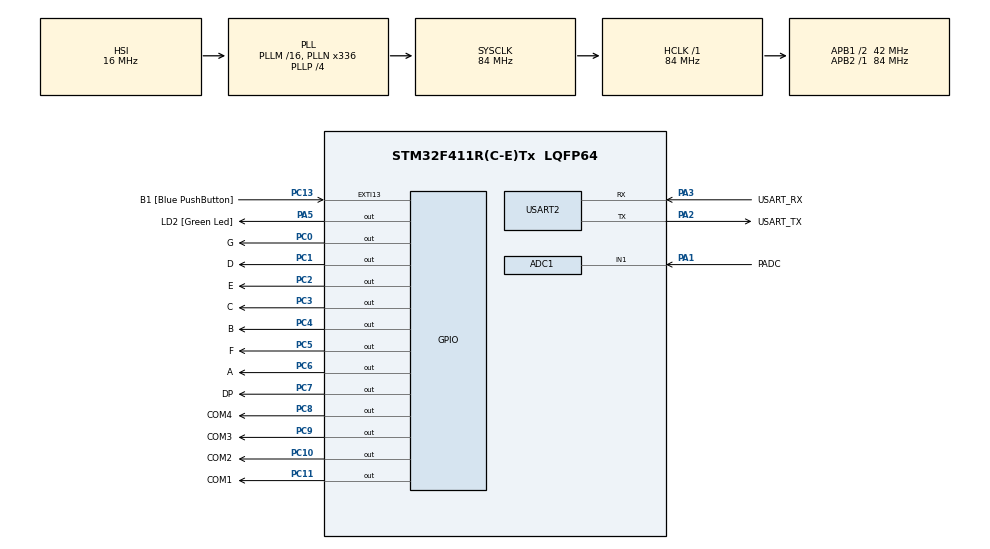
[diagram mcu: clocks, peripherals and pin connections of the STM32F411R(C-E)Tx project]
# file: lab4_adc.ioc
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ADC1.Channel-0\#ChannelRegularConversion=ADC_CHANNEL_1
ADC1.ContinuousConvMode=DISABLE
ADC1.NbrOfConversion=1
ADC1.NbrOfConversionFlag=1
ADC1.Rank-0\#ChannelRegularConversion=1
ADC1.SamplingTime-0\#ChannelRegularConversion=ADC_SAMPLETIME_3CYCLES
ADC1.master=1
Mcu.Family=STM32F4
Mcu.Name=STM32F411R(C-E)Tx
Mcu.Package=LQFP64
NVIC.ADC_IRQn=true\:0\:0\:false\:false\:true\:true\:true\:true
NVIC.PriorityGroup=NVIC_PRIORITYGROUP_0
NVIC.TIM1_TRG_COM_TIM11_IRQn=true\:0\:0\:false\:false\:true\:true\:true\:true
NVIC.TIM1_UP_TIM10_IRQn=true\:0\:0\:false\:false\:true\:true\:true\:true
PA1.GPIO_Label=PADC
PA1.Signal=ADCx_IN1
PA13.GPIO_Label=TMS
PA13.Mode=Serial_Wire
PA13.Signal=SYS_JTMS-SWDIO
PA14.GPIO_Label=TCK
PA14.Mode=Serial_Wire
PA14.Signal=SYS_JTCK-SWCLK
PA2.GPIO_Label=USART_TX
PA2.Mode=Asynchronous
PA2.Signal=USART2_TX
PA3.GPIO_Label=USART_RX
PA3.Mode=Asynchronous
PA3.Signal=USART2_RX
PA5.GPIO_Label=LD2 [Green Led]
PA5.Signal=GPIO_Output
PB3.GPIO_Label=SWO
PB3.Signal=SYS_JTDO-SWO
PC0.GPIO_Label=G
PC0.Signal=GPIO_Output
PC1.GPIO_Label=D
PC1.Signal=GPIO_Output
PC10.GPIO_Label=COM2
PC10.Signal=GPIO_Output
PC11.GPIO_Label=COM1
PC11.Signal=GPIO_Output
PC13-ANTI_TAMP.GPIO_Label=B1 [Blue PushButton]
PC13-ANTI_TAMP.GPIO_ModeDefaultEXTI=GPIO_MODE_IT_FALLING
PC13-ANTI_TAMP.Signal=GPXTI13
PC14-OSC32_IN.Mode=LSE-External-Oscillator
PC14-OSC32_IN.Signal=RCC_OSC32_IN
PC15-OSC32_OUT.Mode=LSE-External-Oscillator
PC15-OSC32_OUT.Signal=RCC_OSC32_OUT
PC2.GPIO_Label=E
PC2.Signal=GPIO_Output
PC3.GPIO_Label=C
PC3.Signal=GPIO_Output
PC4.GPIO_Label=B
PC4.Signal=GPIO_Output
PC5.GPIO_Label=F
PC5.Signal=GPIO_Output
PC6.GPIO_Label=A
PC6.Signal=GPIO_Output
PC7.GPIO_Label=DP
PC7.Signal=GPIO_Output
PC8.GPIO_Label=COM4
PC8.Signal=GPIO_Output
PC9.GPIO_Label=COM3
PC9.Signal=GPIO_Output
PH0\ -\ OSC_IN.Mode=HSE-External-Clock-Source
PH0\ -\ OSC_IN.Signal=RCC_OSC_IN
PH1\ -\ OSC_OUT.Mode=HSE-External-Clock-Source
PH1\ -\ OSC_OUT.Signal=RCC_OSC_OUT
ProjectManager.HeapSize=0x200
ProjectManager.StackSize=0x400
ProjectManager.TargetToolchain=STM32CubeIDE
RCC.48MHZClocksFreq_Value=84000000
RCC.AHBFreq_Value=84000000
RCC.APB1CLKDivider=RCC_HCLK_DIV2
RCC.APB1Freq_Value=42000000
RCC.APB1TimFreq_Value=84000000
RCC.APB2Freq_Value=84000000
RCC.APB2TimFreq_Value=84000000
RCC.CortexFreq_Value=84000000
RCC.FLatency-AdvancedSettings=FLASH_LATENCY_2
RCC.HCLKFreq_Value=84000000
RCC.HSE_VALUE=8000000
RCC.HSI_VALUE=16000000
RCC.PLLN=336
RCC.PLLP=RCC_PLLP_DIV4
RCC.SYSCLKFreq_VALUE=84000000
RCC.SYSCLKSource=RCC_SYSCLKSOURCE_PLLCLK
RCC.VCOOutputFreq_Value=336000000
SH.ADCx_IN1.0=ADC1_IN1,IN1
TIM10.Period=999
TIM10.Prescaler=8399
TIM11.Period=9
TIM11.Prescaler=8399
USART2.VirtualMode=VM_ASYNC
VP_TIM10_VS_ClockSourceINT.Mode=Enable_Timer
VP_TIM11_VS_ClockSourceINT.Mode=Enable_Timer
board=NUCLEO-F411RE

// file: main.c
/* USER CODE BEGIN Header */
/**
  ******************************************************************************
  * @file           : main.c
  * @brief          : Main program body
  ******************************************************************************
  * @attention
  *
  * Copyright (c) 2023 STMicroelectronics.
  * All rights reserved.
  *
  * This software is licensed under terms that can be found in the LICENSE file
  * in the root directory of this software component.
  * If no LICENSE file comes with this software, it is provided AS-IS.
  *
  ******************************************************************************
  */
/* USER CODE END Header */
#include "main.h"

ADC_HandleTypeDef hadc1;

TIM_HandleTypeDef htim10;
TIM_HandleTypeDef htim11;

UART_HandleTypeDef huart2;

/* USER CODE BEGIN PV */
volatile uint8_t callback_counter = 0;
volatile uint8_t thousands;
volatile uint8_t hundreds;
volatile uint8_t tens;
volatile uint8_t ones;
volatile uint16_t number_disp = 0;
/* USER CODE END PV */

void SystemClock_Config(void);
static void MX_GPIO_Init(void);
static void MX_USART2_UART_Init(void);
static void MX_TIM11_Init(void);
static void MX_ADC1_Init(void);
static void MX_TIM10_Init(void);
/* USER CODE BEGIN PFP */
void com_change(uint8_t com);
void disp_change(uint8_t num);
void num_show(void);

void HAL_ADC_ConvCpltCallback(ADC_HandleTypeDef *hadc){
	if (hadc->Instance == ADC1) {
		uint16_t adc_value;
		adc_value = HAL_ADC_GetValue(&hadc1);
		number_disp = adc_value;
	}
}

void HAL_TIM_PeriodElapsedCallback(TIM_HandleTypeDef *htim) {
	if (htim->Instance == TIM10) {
		// adc interruption
		HAL_ADC_Start_IT(&hadc1);
	}
	if (htim->Instance == TIM11) {
		// Green LED FLASH
		HAL_GPIO_TogglePin(LD2_GPIO_Port, LD2_Pin);
		num_show();

	}
}

void num_show(void) {
	// Displaying numbers
	if(callback_counter == 0) {
		// decoding
		ones = number_disp % 10;
		tens = (number_disp / 10) % 10;
		hundreds = (number_disp / 100) % 10;
		thousands = (number_disp / 1000) % 10;

		// turning off all displays
		com_change(0);

		// number set
		disp_change(thousands);

		// turning on display 1
		if (thousands != 0) {
		com_change(1);
		}
		callback_counter++;
	}
	else if (callback_counter == 1) {
		// turning off all displays
		com_change(0);

		// number set
		disp_change(hundreds);

		// turning on display 2
		if (hundreds != 0 || thousands != 0) {
		com_change(2);
		}
		callback_counter++;
	}
	else if (callback_counter == 2) {
		// turning off all displays
		com_change(0);

		// number set
		disp_change(tens);

		// turning on display 3
		if (thousands != 0 || hundreds != 0 || tens != 0) {
		com_change(3);
		}
		callback_counter++;
	}
	else if (callback_counter == 3) {
		// turning off all displays
		com_change(0);

		// number set
		disp_change(ones);

		// turning on display 4
		com_change(4);
		callback_counter = 0;
	}
}

void com_change(uint8_t com) {
	switch(com) {
	case 1:
		HAL_GPIO_WritePin(GPIOC, COM1_Pin, GPIO_PIN_RESET);
		HAL_GPIO_WritePin(GPIOC, COM2_Pin, GPIO_PIN_SET);
		HAL_GPIO_WritePin(GPIOC, COM3_Pin, GPIO_PIN_SET);
		HAL_GPIO_WritePin(GPIOC, COM4_Pin, GPIO_PIN_SET);
		break;
	case 2:
		HAL_GPIO_WritePin(GPIOC, COM1_Pin, GPIO_PIN_SET);
		HAL_GPIO_WritePin(GPIOC, COM2_Pin, GPIO_PIN_RESET);
		HAL_GPIO_WritePin(GPIOC, COM3_Pin, GPIO_PIN_SET);
		HAL_GPIO_WritePin(GPIOC, COM4_Pin, GPIO_PIN_SET);
		break;
	case 3:
		HAL_GPIO_WritePin(GPIOC, COM1_Pin, GPIO_PIN_SET);
		HAL_GPIO_WritePin(GPIOC, COM2_Pin, GPIO_PIN_SET);
		HAL_GPIO_WritePin(GPIOC, COM3_Pin, GPIO_PIN_RESET);
		HAL_GPIO_WritePin(GPIOC, COM4_Pin, GPIO_PIN_SET);
		break;
	case 4:
		HAL_GPIO_WritePin(GPIOC, COM1_Pin, GPIO_PIN_SET);
		HAL_GPIO_WritePin(GPIOC, COM2_Pin, GPIO_PIN_SET);
		HAL_GPIO_WritePin(GPIOC, COM3_Pin, GPIO_PIN_SET);
		HAL_GPIO_WritePin(GPIOC, COM4_Pin, GPIO_PIN_RESET);
		break;
	default:
		HAL_GPIO_WritePin(GPIOC, COM1_Pin, GPIO_PIN_SET);
		HAL_GPIO_WritePin(GPIOC, COM2_Pin, GPIO_PIN_SET);
		HAL_GPIO_WritePin(GPIOC, COM3_Pin, GPIO_PIN_SET);
		HAL_GPIO_WritePin(GPIOC, COM4_Pin, GPIO_PIN_SET);
		break;
	}
}

void disp_change(uint8_t num) {
	switch(num) {
	case 0:
		HAL_GPIO_WritePin(GPIOC, A_Pin, GPIO_PIN_SET);
		HAL_GPIO_WritePin(GPIOC, B_Pin, GPIO_PIN_SET);
		HAL_GPIO_WritePin(GPIOC, C_Pin, GPIO_PIN_SET);
		HAL_GPIO_WritePin(GPIOC, D_Pin, GPIO_PIN_SET);
		HAL_GPIO_WritePin(GPIOC, E_Pin, GPIO_PIN_SET);
		HAL_GPIO_WritePin(GPIOC, F_Pin, GPIO_PIN_SET);
		HAL_GPIO_WritePin(GPIOC, G_Pin, GPIO_PIN_RESET);
		break;
	case 1:
		HAL_GPIO_WritePin(GPIOC, A_Pin, GPIO_PIN_RESET);
		HAL_GPIO_WritePin(GPIOC, B_Pin, GPIO_PIN_SET);
		HAL_GPIO_WritePin(GPIOC, C_Pin, GPIO_PIN_SET);
		HAL_GPIO_WritePin(GPIOC, D_Pin, GPIO_PIN_RESET);
		HAL_GPIO_WritePin(GPIOC, E_Pin, GPIO_PIN_RESET);
		HAL_GPIO_WritePin(GPIOC, F_Pin, GPIO_PIN_RESET);
		HAL_GPIO_WritePin(GPIOC, G_Pin, GPIO_PIN_RESET);
		break;
	case 2:
		HAL_GPIO_WritePin(GPIOC, A_Pin, GPIO_PIN_SET);
		HAL_GPIO_WritePin(GPIOC, B_Pin, GPIO_PIN_SET);
		HAL_GPIO_WritePin(GPIOC, C_Pin, GPIO_PIN_RESET);
		HAL_GPIO_WritePin(GPIOC, D_Pin, GPIO_PIN_SET);
		HAL_GPIO_WritePin(GPIOC, E_Pin, GPIO_PIN_SET);
		HAL_GPIO_WritePin(GPIOC, F_Pin, GPIO_PIN_RESET);
		HAL_GPIO_WritePin(GPIOC, G_Pin, GPIO_PIN_SET);
		break;
	case 3:
		HAL_GPIO_WritePin(GPIOC, A_Pin, GPIO_PIN_SET);
		HAL_GPIO_WritePin(GPIOC, B_Pin, GPIO_PIN_SET);
		HAL_GPIO_WritePin(GPIOC, C_Pin, GPIO_PIN_SET);
		HAL_GPIO_WritePin(GPIOC, D_Pin, GPIO_PIN_SET);
		HAL_GPIO_WritePin(GPIOC, E_Pin, GPIO_PIN_RESET);
		HAL_GPIO_WritePin(GPIOC, F_Pin, GPIO_PIN_RESET);
		HAL_GPIO_WritePin(GPIOC, G_Pin, GPIO_PIN_SET);
		break;
	case 4:
		HAL_GPIO_WritePin(GPIOC, A_Pin, GPIO_PIN_RESET);
		HAL_GPIO_WritePin(GPIOC, B_Pin, GPIO_PIN_SET);
		HAL_GPIO_WritePin(GPIOC, C_Pin, GPIO_PIN_SET);
		HAL_GPIO_WritePin(GPIOC, D_Pin, GPIO_PIN_RESET);
		HAL_GPIO_WritePin(GPIOC, E_Pin, GPIO_PIN_RESET);
		HAL_GPIO_WritePin(GPIOC, F_Pin, GPIO_PIN_SET);
		HAL_GPIO_WritePin(GPIOC, G_Pin, GPIO_PIN_SET);
		break;
	case 5:
		HAL_GPIO_WritePin(GPIOC, A_Pin, GPIO_PIN_SET);
		HAL_GPIO_WritePin(GPIOC, B_Pin, GPIO_PIN_RESET);
		HAL_GPIO_WritePin(GPIOC, C_Pin, GPIO_PIN_SET);
		HAL_GPIO_WritePin(GPIOC, D_Pin, GPIO_PIN_SET);
		HAL_GPIO_WritePin(GPIOC, E_Pin, GPIO_PIN_RESET);
		HAL_GPIO_WritePin(GPIOC, F_Pin, GPIO_PIN_SET);
		HAL_GPIO_WritePin(GPIOC, G_Pin, GPIO_PIN_SET);
		break;
	case 6:
		HAL_GPIO_WritePin(GPIOC, A_Pin, GPIO_PIN_SET);
		HAL_GPIO_WritePin(GPIOC, B_Pin, GPIO_PIN_RESET);
		HAL_GPIO_WritePin(GPIOC, C_Pin, GPIO_PIN_SET);
		HAL_GPIO_WritePin(GPIOC, D_Pin, GPIO_PIN_SET);
		HAL_GPIO_WritePin(GPIOC, E_Pin, GPIO_PIN_SET);
		HAL_GPIO_WritePin(GPIOC, F_Pin, GPIO_PIN_SET);
		HAL_GPIO_WritePin(GPIOC, G_Pin, GPIO_PIN_SET);
		break;
	case 7:
		HAL_GPIO_WritePin(GPIOC, A_Pin, GPIO_PIN_SET);
		HAL_GPIO_WritePin(GPIOC, B_Pin, GPIO_PIN_SET);
		HAL_GPIO_WritePin(GPIOC, C_Pin, GPIO_PIN_SET);
		HAL_GPIO_WritePin(GPIOC, D_Pin, GPIO_PIN_RESET);
		HAL_GPIO_WritePin(GPIOC, E_Pin, GPIO_PIN_RESET);
		HAL_GPIO_WritePin(GPIOC, F_Pin, GPIO_PIN_RESET);
		HAL_GPIO_WritePin(GPIOC, G_Pin, GPIO_PIN_RESET);
		break;
	case 8:
		HAL_GPIO_WritePin(GPIOC, A_Pin, GPIO_PIN_SET);
		HAL_GPIO_WritePin(GPIOC, B_Pin, GPIO_PIN_SET);
		HAL_GPIO_WritePin(GPIOC, C_Pin, GPIO_PIN_SET);
		HAL_GPIO_WritePin(GPIOC, D_Pin, GPIO_PIN_SET);
		HAL_GPIO_WritePin(GPIOC, E_Pin, GPIO_PIN_SET);
		HAL_GPIO_WritePin(GPIOC, F_Pin, GPIO_PIN_SET);
		HAL_GPIO_WritePin(GPIOC, G_Pin, GPIO_PIN_SET);
		break;
	case 9:
		HAL_GPIO_WritePin(GPIOC, A_Pin, GPIO_PIN_SET);
		HAL_GPIO_WritePin(GPIOC, B_Pin, GPIO_PIN_SET);
		HAL_GPIO_WritePin(GPIOC, C_Pin, GPIO_PIN_SET);
		HAL_GPIO_WritePin(GPIOC, D_Pin, GPIO_PIN_SET);
		HAL_GPIO_WritePin(GPIOC, E_Pin, GPIO_PIN_RESET);
		HAL_GPIO_WritePin(GPIOC, F_Pin, GPIO_PIN_SET);
		HAL_GPIO_WritePin(GPIOC, G_Pin, GPIO_PIN_SET);
		break;
	default:
		HAL_GPIO_WritePin(GPIOC, A_Pin, GPIO_PIN_RESET);
		HAL_GPIO_WritePin(GPIOC, B_Pin, GPIO_PIN_RESET);
		HAL_GPIO_WritePin(GPIOC, C_Pin, GPIO_PIN_RESET);
		HAL_GPIO_WritePin(GPIOC, D_Pin, GPIO_PIN_RESET);
		HAL_GPIO_WritePin(GPIOC, E_Pin, GPIO_PIN_RESET);
		HAL_GPIO_WritePin(GPIOC, F_Pin, GPIO_PIN_RESET);
		HAL_GPIO_WritePin(GPIOC, G_Pin, GPIO_PIN_RESET);
		break;
	}
}

/* USER CODE END PFP */

int main(void)
{

  /* MCU Configuration--------------------------------------------------------*/

  /* Reset of all peripherals, Initializes the Flash interface and the Systick. */
  HAL_Init();

  /* Configure the system clock */
  SystemClock_Config();

  /* Initialize all configured peripherals */
  MX_GPIO_Init();
  MX_USART2_UART_Init();
  MX_TIM11_Init();
  MX_ADC1_Init();
  MX_TIM10_Init();
  /* USER CODE BEGIN 2 */
  // timers start with interruption
  HAL_TIM_Base_Start_IT(&htim11);
  HAL_TIM_Base_Start_IT(&htim10);
  /* USER CODE END 2 */

  /* Infinite loop */
  /* USER CODE BEGIN WHILE */
  while (1)
  {
//	  for (uint16_t i = 0; i < 10000; i++) {
//		  number++;
//		  HAL_Delay(100);
//	  }
//	  number = 0;
    /* USER CODE END WHILE */

  }
}

void SystemClock_Config(void)
{
  RCC_OscInitTypeDef RCC_OscInitStruct = {0};
  RCC_ClkInitTypeDef RCC_ClkInitStruct = {0};

  /** Configure the main internal regulator output voltage
  */
  __HAL_RCC_PWR_CLK_ENABLE();
  __HAL_PWR_VOLTAGESCALING_CONFIG(PWR_REGULATOR_VOLTAGE_SCALE1);

  /** Initializes the RCC Oscillators according to the specified parameters
  * in the RCC_OscInitTypeDef structure.
  */
  RCC_OscInitStruct.OscillatorType = RCC_OSCILLATORTYPE_HSI;
  RCC_OscInitStruct.HSIState = RCC_HSI_ON;
  RCC_OscInitStruct.HSICalibrationValue = RCC_HSICALIBRATION_DEFAULT;
  RCC_OscInitStruct.PLL.PLLState = RCC_PLL_ON;
  RCC_OscInitStruct.PLL.PLLSource = RCC_PLLSOURCE_HSI;
  RCC_OscInitStruct.PLL.PLLM = 16;
  RCC_OscInitStruct.PLL.PLLN = 336;
  RCC_OscInitStruct.PLL.PLLP = RCC_PLLP_DIV4;
  RCC_OscInitStruct.PLL.PLLQ = 4;
  if (HAL_RCC_OscConfig(&RCC_OscInitStruct) != HAL_OK)
  {
    Error_Handler();
  }

  /** Initializes the CPU, AHB and APB buses clocks
  */
  RCC_ClkInitStruct.ClockType = RCC_CLOCKTYPE_HCLK|RCC_CLOCKTYPE_SYSCLK
                              |RCC_CLOCKTYPE_PCLK1|RCC_CLOCKTYPE_PCLK2;
  RCC_ClkInitStruct.SYSCLKSource = RCC_SYSCLKSOURCE_PLLCLK;
  RCC_ClkInitStruct.AHBCLKDivider = RCC_SYSCLK_DIV1;
  RCC_ClkInitStruct.APB1CLKDivider = RCC_HCLK_DIV2;
  RCC_ClkInitStruct.APB2CLKDivider = RCC_HCLK_DIV1;

  if (HAL_RCC_ClockConfig(&RCC_ClkInitStruct, FLASH_LATENCY_2) != HAL_OK)
  {
    Error_Handler();
  }
}

static void MX_ADC1_Init(void)
{

  ADC_ChannelConfTypeDef sConfig = {0};

  /** Configure the global features of the ADC (Clock, Resolution, Data Alignment and number of conversion)
  */
  hadc1.Instance = ADC1;
  hadc1.Init.ClockPrescaler = ADC_CLOCK_SYNC_PCLK_DIV4;
  hadc1.Init.Resolution = ADC_RESOLUTION_12B;
  hadc1.Init.ScanConvMode = DISABLE;
  hadc1.Init.ContinuousConvMode = DISABLE;
  hadc1.Init.DiscontinuousConvMode = DISABLE;
  hadc1.Init.ExternalTrigConvEdge = ADC_EXTERNALTRIGCONVEDGE_NONE;
  hadc1.Init.ExternalTrigConv = ADC_SOFTWARE_START;
  hadc1.Init.DataAlign = ADC_DATAALIGN_RIGHT;
  hadc1.Init.NbrOfConversion = 1;
  hadc1.Init.DMAContinuousRequests = DISABLE;
  hadc1.Init.EOCSelection = ADC_EOC_SINGLE_CONV;
  if (HAL_ADC_Init(&hadc1) != HAL_OK)
  {
    Error_Handler();
  }

  /** Configure for the selected ADC regular channel its corresponding rank in the sequencer and its sample time.
  */
  sConfig.Channel = ADC_CHANNEL_1;
  sConfig.Rank = 1;
  sConfig.SamplingTime = ADC_SAMPLETIME_480CYCLES;
  if (HAL_ADC_ConfigChannel(&hadc1, &sConfig) != HAL_OK)
  {
    Error_Handler();
  }

}

static void MX_TIM10_Init(void)
{

  htim10.Instance = TIM10;
  htim10.Init.Prescaler = 8399;
  htim10.Init.CounterMode = TIM_COUNTERMODE_UP;
  htim10.Init.Period = 999;
  htim10.Init.ClockDivision = TIM_CLOCKDIVISION_DIV1;
  htim10.Init.AutoReloadPreload = TIM_AUTORELOAD_PRELOAD_DISABLE;
  if (HAL_TIM_Base_Init(&htim10) != HAL_OK)
  {
    Error_Handler();
  }

}

static void MX_TIM11_Init(void)
{

  htim11.Instance = TIM11;
  htim11.Init.Prescaler = 8399;
  htim11.Init.CounterMode = TIM_COUNTERMODE_UP;
  htim11.Init.Period = 9;
  htim11.Init.ClockDivision = TIM_CLOCKDIVISION_DIV1;
  htim11.Init.AutoReloadPreload = TIM_AUTORELOAD_PRELOAD_DISABLE;
  if (HAL_TIM_Base_Init(&htim11) != HAL_OK)
  {
    Error_Handler();
  }

}

static void MX_USART2_UART_Init(void)
{

  huart2.Instance = USART2;
  huart2.Init.BaudRate = 115200;
  huart2.Init.WordLength = UART_WORDLENGTH_8B;
  huart2.Init.StopBits = UART_STOPBITS_1;
  huart2.Init.Parity = UART_PARITY_NONE;
  huart2.Init.Mode = UART_MODE_TX_RX;
  huart2.Init.HwFlowCtl = UART_HWCONTROL_NONE;
  huart2.Init.OverSampling = UART_OVERSAMPLING_16;
  if (HAL_UART_Init(&huart2) != HAL_OK)
  {
    Error_Handler();
  }

}

static void MX_GPIO_Init(void)
{
  GPIO_InitTypeDef GPIO_InitStruct = {0};

  /* GPIO Ports Clock Enable */
  __HAL_RCC_GPIOC_CLK_ENABLE();
  __HAL_RCC_GPIOH_CLK_ENABLE();
  __HAL_RCC_GPIOA_CLK_ENABLE();
  __HAL_RCC_GPIOB_CLK_ENABLE();

  /*Configure GPIO pin Output Level */
  HAL_GPIO_WritePin(GPIOC, G_Pin|D_Pin|E_Pin|C_Pin
                          |B_Pin|F_Pin|A_Pin|DP_Pin
                          |COM4_Pin|COM3_Pin|COM2_Pin|COM1_Pin, GPIO_PIN_RESET);

  /*Configure GPIO pin Output Level */
  HAL_GPIO_WritePin(LD2_GPIO_Port, LD2_Pin, GPIO_PIN_RESET);

  /*Configure GPIO pin : B1_Pin */
  GPIO_InitStruct.Pin = B1_Pin;
  GPIO_InitStruct.Mode = GPIO_MODE_IT_FALLING;
  GPIO_InitStruct.Pull = GPIO_NOPULL;
  HAL_GPIO_Init(B1_GPIO_Port, &GPIO_InitStruct);

  /*Configure GPIO pins : G_Pin D_Pin E_Pin C_Pin
                           B_Pin F_Pin A_Pin DP_Pin
                           COM4_Pin COM3_Pin COM2_Pin COM1_Pin */
  GPIO_InitStruct.Pin = G_Pin|D_Pin|E_Pin|C_Pin
                          |B_Pin|F_Pin|A_Pin|DP_Pin
                          |COM4_Pin|COM3_Pin|COM2_Pin|COM1_Pin;
  GPIO_InitStruct.Mode = GPIO_MODE_OUTPUT_PP;
  GPIO_InitStruct.Pull = GPIO_NOPULL;
  GPIO_InitStruct.Speed = GPIO_SPEED_FREQ_LOW;
  HAL_GPIO_Init(GPIOC, &GPIO_InitStruct);

  /*Configure GPIO pin : LD2_Pin */
  GPIO_InitStruct.Pin = LD2_Pin;
  GPIO_InitStruct.Mode = GPIO_MODE_OUTPUT_PP;
  GPIO_InitStruct.Pull = GPIO_NOPULL;
  GPIO_InitStruct.Speed = GPIO_SPEED_FREQ_LOW;
  HAL_GPIO_Init(LD2_GPIO_Port, &GPIO_InitStruct);

}

void Error_Handler(void)
{
  __disable_irq();
  while (1)
  {
  }
}
